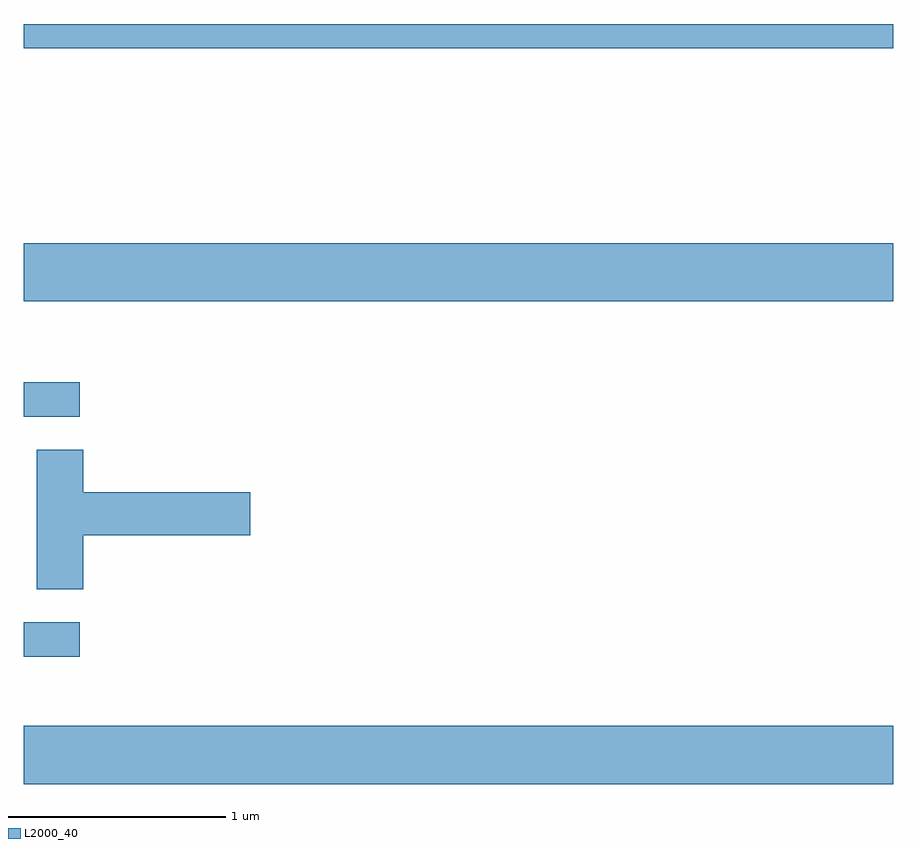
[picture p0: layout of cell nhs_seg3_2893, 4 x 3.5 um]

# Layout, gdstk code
import gdstk
lib = gdstk.Library(unit=1e-6, precision=1e-09)
def R(c, l, rs):  # rectangles x0, y0, x1, y1
    for r in rs: c.add(gdstk.rectangle(r[:2], r[2:], *l))
def P(c, l, *ps):  # polygons
    for p in ps: c.add(gdstk.Polygon(p, *l))
L2000_40 = (2000, 40)

nhs_seg3_2893 = lib.new_cell('nhs_seg3_2893')
R(nhs_seg3_2893, L2000_40, [(269.611,1190.396,273.611,1190.664), (269.611,1190.981,269.868,1191.139), (269.611,1192.086,269.868,1192.244), (269.611,1192.616,273.611,1192.884), (269.611,1193.781,273.611,1193.892)])
P(nhs_seg3_2893, L2000_40, [(269.884,1191.541),(270.654,1191.541),(270.654,1191.739),(269.884,1191.739),(269.884,1191.934),(269.671,1191.934),(269.671,1191.291),(269.884,1191.291)])

lib.write_gds('nhs_seg3_2893.gds')
